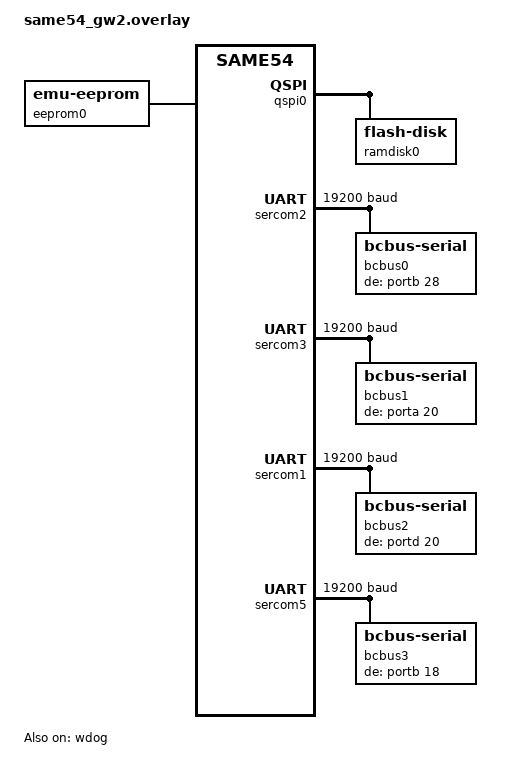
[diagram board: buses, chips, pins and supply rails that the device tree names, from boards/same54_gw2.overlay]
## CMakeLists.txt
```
# SPDX-License-Identifier: Apache-2.0

# set(MY_OBJDUMP $ENV{HOME}/zephyr-sdk-0.17.4/arm-zephyr-eabi/bin/arm-zephyr-eabi-objdump)

# set_property(GLOBAL APPEND PROPERTY extra_post_build_byproducts
#  COMMAND ${MY_OBJDUMP} -S --disassemble ${CMAKE_BINARY_DIR}/app/libapp.a > ${CMAKE_BINARY_DIR}/zephyr/libapp.asm
# )

# west build -p always -b same54_gw2 app/gateway --sysbuild -d build-hello-signed -- -DSB_CONFIG_BOOTLOADER_MCUBOOT=y
# west flash -d build-hello-signed


cmake_minimum_required(VERSION 3.20.0)
find_package(Zephyr REQUIRED HINTS $ENV{ZEPHYR_BASE})
project(app_gateway)


FILE(GLOB app_sources src/*.c src/mecrisp-src/atsame54-ra/mecrisp-stellaris-atsame54p20.s)
option(INCLUDE_HTML_CONTENT "Include the HTML content" ON)
target_sources(app PRIVATE ${app_sources})


include(${ZEPHYR_BASE}/samples/net/common/common.cmake)
target_include_directories(app PRIVATE src/mecrisp-src/atsame54-ra/ src/mecrisp-src/common/)
# zephyr_linker_sources(mecrisp.ld)

target_link_libraries(app PRIVATE zephyr_interface zephyr)

zephyr_linker_sources(SECTIONS sections-rom.ld)

set(gen_dir ${ZEPHYR_BINARY_DIR}/include/generated/)

foreach(web_resource
  bview_bcr.html
  favicon.ico
  fernb_bcr.html
  upload_script.html
  fw_update.html
    )
  generate_inc_file_for_target(
    app
    src/static_web_resources/${web_resource}
    ${gen_dir}/${web_resource}.gz.inc
    --gzip
  )
  generate_inc_file_for_target(
    app
    src/static_web_resources/${web_resource}
    ${gen_dir}/${web_resource}.inc
  )
endforeach()
```

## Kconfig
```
# Copyright (c) 2019 Peter Bigot Consulting, LLC
# SPDX-License-Identifier: Apache-2.0

mainmenu "gateway"


config BCBUS_LINE_SIZE
	int "Size of linebuffer for TTY and FORTH"
	default 120
	help
	  Used for linebuffers.

config APP_HTTP_SERVER_PORT
        int "HTTP Server Port"
        default 80

config TFTP_APP_PORT
	string "TFTP port used"
	default "69"
	help
	  TFTP port used.

config TFTP_APP_SERVER
	string "TFTP server address"
	default "10.100.32.103"
	help
	  TFTP server address. Write as a full URI including optional port number.
	  When DNS resolver is enabled, DNS domain names could be used as well.

choice
	prompt "Storage backend type used by the application"
	default APP_LITTLEFS_STORAGE_FLASH
	help
	  Specify the type of storage backend.

config APP_LITTLEFS_STORAGE_FLASH
	bool "Use flash memory backend"

endchoice


menuconfig QSPI
	bool "Quad Serial Peripheral Interface (QSPI) bus drivers"
	help
	  Enable support for the QSPI hardware bus.

if QSPI

config QSPI_INIT_PRIORITY
	int "Init priority"
	default KERNEL_INIT_PRIORITY_DEVICE
	help
	  Device driver initialization priority.

config QSPI_SAM0
	bool "Atmel SAM0 series QSPI driver"
	default y
	depends on DT_HAS_ATMEL_SAM0_QSPI_ENABLED
	select PINCTRL
	help
	  Enable support for the SAM0 QSPI driver.

module = QSPI
module-str = qspi
source "subsys/logging/Kconfig.template.log_config"

endif # QSPI

source "Kconfig.zephyr"
```

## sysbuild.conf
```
SB_CONFIG_BOOTLOADER_MCUBOOT=y
SB_CONFIG_MCUBOOT_MODE_OVERWRITE_ONLY=y
SB_CONFIG_BOOT_SIGNATURE_KEY_FILE="bc_img_sign.pem"
```

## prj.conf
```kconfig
# Let __ASSERT do its job
CONFIG_DEBUG=y
CONFIG_REBOOT=y
CONFIG_DEBUG_THREAD_INFO=y
CONFIG_WATCHDOG=y
CONFIG_PWM=y

CONFIG_MAIN_STACK_SIZE=3072
CONFIG_SYSTEM_WORKQUEUE_STACK_SIZE=2048
CONFIG_INIT_STACKS=y

CONFIG_SERIAL=y
CONFIG_UART_INTERRUPT_DRIVEN=y

CONFIG_BCBUS=y
CONFIG_BCBUS_SERIAL=y
CONFIG_BCBUS_ROLE_CLIENT_SERVER=y
CONFIG_BCBUS_RAW_ADU=y
CONFIG_BCBUS_NUMOF_RAW_ADU=1
CONFIG_BCBUS_LOG_LEVEL_ERR=y

CONFIG_MODBUS=y
CONFIG_MODBUS_ROLE_SERVER=y
CONFIG_MODBUS_RAW_ADU=y
CONFIG_MODBUS_LOG_LEVEL_DBG=n

# CONFIG_HEAP_MEM_POOL_SIZE=16384
CONFIG_SYS_HEAP_RUNTIME_STATS=y
CONFIG_SYS_HEAP_ARRAY_SIZE=8

CONFIG_FILE_SYSTEM=y
CONFIG_FILE_SYSTEM_SHELL=y
CONFIG_FILE_SYSTEM_MKFS=y
CONFIG_FAT_FILESYSTEM_ELM=y
CONFIG_FS_FATFS_NUM_FILES=10
CONFIG_FS_FATFS_LFN=y
CONFIG_FLASH=y
CONFIG_FLASH_MAP=y
# CONFIG_FLASH_SHELL=y
CONFIG_FLASH_LOG_LEVEL_DBG=n

CONFIG_APP_LITTLEFS_STORAGE_FLASH=y
CONFIG_FILE_SYSTEM_LITTLEFS=y
# CONFIG_FILE_SYSTEM_SHELL_MOUNT_COMMAND=y
CONFIG_SPI_NOR_SFDP_RUNTIME=y
CONFIG_SPI_NOR_FLASH_LAYOUT_PAGE_SIZE=4096

CONFIG_TFTP_LIB=y
CONFIG_POSIX_API=y
CONFIG_FDTABLE=y
CONFIG_ZVFS_OPEN_ADD_SIZE_POSIX=12
CONFIG_ZVFS_OPEN_MAX=52
CONFIG_ZVFS_POLL_MAX=16
CONFIG_ZVFS_EVENTFD_MAX=10


CONFIG_OUTPUT_DISASSEMBLY=y
CONFIG_PRINTK=y
CONFIG_LOG=y
CONFIG_SHELL=y
CONFIG_SHELL_TAB=y

CONFIG_NETWORKING=y
CONFIG_NET_IPV6=n
CONFIG_NET_IPV4=y
CONFIG_NET_ARP=y
CONFIG_NET_UDP=y
CONFIG_NET_TCP=y
CONFIG_NET_SOCKETS=y
CONFIG_NET_CONNECTION_MANAGER=y
CONFIG_NET_MGMT_EVENT=y
CONFIG_NET_L2_ETHERNET_MGMT=y
CONFIG_NET_TCP_TIME_WAIT_DELAY=5000
# CONFIG_NET_CONFIG_SETTINGS=y
# Network buffers
CONFIG_NET_PKT_RX_COUNT=24
CONFIG_NET_PKT_TX_COUNT=24
CONFIG_NET_BUF_RX_COUNT=144
CONFIG_NET_BUF_TX_COUNT=144
CONFIG_NET_CONTEXT_NET_PKT_POOL=y

# IP address options
CONFIG_NET_MAX_CONTEXTS=32
CONFIG_NET_MAX_CONN=32

# Eventfd
CONFIG_EVENTFD=y

# HTTP parser
CONFIG_HTTP_SERVER=y
CONFIG_APP_HTTP_SERVER_PORT=80
CONFIG_HTTP_SERVER_MAX_CLIENTS=3
CONFIG_HTTP_SERVER_MAX_HEADER_LEN=128
CONFIG_HTTP_SERVER_RESOURCE_WILDCARD=y

CONFIG_NET_DHCPV4=y
CONFIG_NET_DHCPV4_OPTION_CALLBACKS=y

# CONFIG_TEST_RANDOM_GENERATOR=y

CONFIG_NET_BUF_LOG=y
CONFIG_NET_LOG=y
CONFIG_NET_HTTP_SERVER_LOG_LEVEL_WRN=y

# CONFIG_NET_CONFIG_MY_IPV6_ADDR="2001:db8::1"
# CONFIG_NET_CONFIG_MY_IPV4_ADDR="192.0.2.1"

CONFIG_NET_SHELL=y
CONFIG_NET_DEBUG_NET_PKT_ALLOC=y
# CONFIG_NET_TCP_LOG_LEVEL_DBG=y
CONFIG_NET_BUF_POOL_USAGE=y
CONFIG_KERNEL_SHELL=y
CONFIG_SHELL_LOG_BACKEND=y
CONFIG_SHELL_BACKEND_TELNET=y
# CONFIG_SHELL_TELNET_SUPPORT_COMMAND=y


CONFIG_EEPROM=y
CONFIG_EEPROM_EMULATOR=y
# CONFIG_EEPROM_SHELL=y
# CONFIG_EEPROM_LOG_LEVEL_DBG=y

CONFIG_ARM_MPU=y
CONFIG_HW_STACK_PROTECTION=y
# Network debug config
CONFIG_NET_SOCKETS_LOG_LEVEL_DBG=n
CONFIG_NET_HTTP_LOG_LEVEL_DBG=n
CONFIG_NET_IPV6_LOG_LEVEL_DBG=n
CONFIG_NET_IPV6_ND_LOG_LEVEL_DBG=n

CONFIG_QSPI=y
CONFIG_QSPI_INIT_PRIORITY=50
# CONFIG_QSPI_LOG_LEVEL_OFF is not set
# CONFIG_QSPI_LOG_LEVEL_ERR is not set
# CONFIG_QSPI_LOG_LEVEL_WRN is not set
# CONFIG_QSPI_LOG_LEVEL_INF is not set
# CONFIG_QSPI_LOG_LEVEL_DBG is not set
CONFIG_QSPI_LOG_LEVEL_DEFAULT=y
CONFIG_DISK_ACCESS=y
CONFIG_DISK_DRIVERS=y
# testing ...
# CONFIG_BOOTLOADER_MCUBOOT=y
# CONFIG_MCUBOOT_BOOTUTIL_LIB=y
# CONFIG_NET_BUF=y
# CONFIG_ZCBOR=y
# CONFIG_MCUMGR=y
CONFIG_STREAM_FLASH=y
# Required by the `taskstat` command.
# CONFIG_THREAD_MONITOR=y
# Support for taskstat command
# CONFIG_MCUMGR_GRP_OS_TASKSTAT=y
# Enable statistics and statistic names.
# CONFIG_STATS=y
# CONFIG_STATS_NAMES=y
CONFIG_IMG_MANAGER=y
# CONFIG_MCUMGR_GRP_IMG=y
# CONFIG_MCUMGR_GRP_OS=y
# CONFIG_MCUMGR_GRP_STAT=y
# Enable logging
# CONFIG_MCUBOOT_UTIL_LOG_LEVEL_WRN=y
# Enable file system commands
# CONFIG_MCUMGR_GRP_FS=y
# Enable shell commands.
# CONFIG_BASE64=y
# CONFIG_CRC=y
# CONFIG_SHELL_BACKEND_DUMMY=y
# CONFIG_MCUMGR_GRP_SHELL=y
# CONFIG_MCUMGR_TRANSPORT_SHELL=y
CONFIG_MCUBOOT_IMG_MANAGER=y
CONFIG_MCUBOOT_SHELL=y
CONFIG_BOOTLOADER_MCUBOOT=y
CONFIG_MCUBOOT_BOOTLOADER_MODE_OVERWRITE_ONLY=y
CONFIG_MCUBOOT_SIGNATURE_KEY_FILE="bc_img_sign.pem"
# CONFIG_IMG_ENABLE_IMAGE_CHECK=y
```

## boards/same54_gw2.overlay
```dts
/*
 * Copyright (c) 2020 Phytec Messtechnik GmbH
 *
 * SPDX-License-Identifier: Apache-2.0
 */

/* 			clocks = <&mclk 0x10 21>, <&mclk 0x10 13>, <&mclk 0x1c 13>;
*/

/ {
	soc {
		qspi0: qspi@42003400 {
			compatible = "bc,sam0-qspiram";
			reg = <0x42003400 0x400>;
			interrupts = <134 0>;
			clocks = <&mclk 0x1c 13>;
			clock-names ="MCLK";
			atmel,assigned-clocks = <&gclk 0x0>;
			atmel,assigned-clock-names = "GCLK";
			status = "disabled";
		};
	};
};

&sercom2 {
	status = "okay";
	compatible = "atmel,sam0-uart";
	current-speed = <19200>;
	rxpo = <1>;
	txpo = <0>;

	pinctrl-0 = <&sercom2_uart_default>;
	pinctrl-names = "default";

	bcbus0 {
		compatible = "zephyr,bcbus-serial";
		status = "okay";
		de-gpios = <&portb 28 GPIO_ACTIVE_HIGH>;
	};
};

&sercom3 {
	status = "okay";
	compatible = "atmel,sam0-uart";
	current-speed = <19200>;
	rxpo = <1>;
	txpo = <0>;

	pinctrl-0 = <&sercom3_uart_default>;
	pinctrl-names = "default";

	bcbus1 {
		compatible = "zephyr,bcbus-serial";
		status = "okay";
		de-gpios = <&porta 20 GPIO_ACTIVE_HIGH>;
	};
};

&sercom1 {
	status = "okay";
	compatible = "atmel,sam0-uart";
	current-speed = <19200>;
	rxpo = <1>;
	txpo = <0>;

	pinctrl-0 = <&sercom1_uart_default>;
	pinctrl-names = "default";

	bcbus2 {
		compatible = "zephyr,bcbus-serial";
		status = "okay";
		de-gpios = <&portd 20 GPIO_ACTIVE_HIGH>;
	};
};

&sercom5 {
	status = "okay";
	compatible = "atmel,sam0-uart";
	current-speed = <19200>;
	rxpo = <1>;
	txpo = <0>;

	pinctrl-0 = <&sercom5_uart_default>;
	pinctrl-names = "default";

	bcbus3 {
		compatible = "zephyr,bcbus-serial";
		status = "okay";
		de-gpios = <&portb 18 GPIO_ACTIVE_HIGH>;
	};
};

&wdog {
	status = "okay";
};

&sram0 {
	reg = <0x20000000 0x3c000>;
};


&qspi0 {
		pinctrl-0 = < &qspi_default >;
		pinctrl-names = "default";
		frequency = < 66000000 >;
		disk-start = < 0x40000000 >;
		status = "okay";

		partitions {
			compatible = "fixed-partitions";
			#address-cells = <1>;
			#size-cells = <1>;

			rampart0: partition@100000 {
			reg = <0x00100000 (DT_SIZE_M(7))>;
		};
	};

		ramdisk0 {
			compatible = "zephyr,flash-disk";
			partition = <&rampart0>;
			disk-name = "RAM";
			sector-size = < 512 >;
			cache-size = <512>;
			status = "okay";
		};
};

/ {
	aliases {
		mac-eeprom = &eeprom0;
	};

	eeprom0: eeprom-0 {
		compatible = "zephyr,emu-eeprom";
		status = "okay";
		partition = < &chip_partition >;
		size = <64>;
		pagesize = <(16*512)>;
	};

};

/ {
   chosen {
      zephyr,code-partition = &slot0_partition;
   };
};
```

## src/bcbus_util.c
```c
#include <zephyr/kernel.h>

#include <zephyr/bcbus/bcbus.h>
#include <zephyr/bcbus/bcbus_unit.h>
#include "bcbus_util.h"

#define LINE1_XADR 0x0100
#define LINE2_XADR 0x0120

/* size of stack area used by each thread */
#define STACKSIZE 1024

/* scheduling priority used by each thread */
#define PRIORITY 13

struct _prv_remotectrl {
	struct remotectrl *rp;
	int akt_ba;
	int akt_iface;
};

struct k_sem update_sem;
struct remotectrl *rp_modul = NULL;

static int get_xdata_via_bus(struct _prv_remotectrl *rp, uint16_t offset)
{
	struct bcbus_tele bustele = {
		.txbuf = {0, 4, SEND_XDATA, offset & 0xff, offset >> 8, 8},
	};
	int rc = -1, m;

	char *p;

	for (m = 0; m < 3; ++m) {
		rc = bcbus_do_client_handshake(rp->akt_iface, rp->akt_ba, &bustele);
		if (rc == 0) {
			break;
		}
	}
	if (rc < 0) {
		strcpy(rp->rp->line1, "...!bus time out!...");
		strcpy(rp->rp->line2, "...!bus time out!...");
		return rc;
	}

	if (offset >= LINE2_XADR) {
		p = rp->rp->line2 + (offset - LINE2_XADR);
	} else {
		p = rp->rp->line1 + (offset - LINE1_XADR);
	}
	for (int i = 0; i < bustele.rxbuf[1]; ++i) {
		*p = bustele.rxbuf[i + 2];
		p++;
	}
	return 0;
}

static int put_scode_via_bus(struct _prv_remotectrl *rp)
{
	struct bcbus_tele bustele = {
		.txbuf =
			{
				0,
				2,
				SET_KEY,
				rp->rp->scancode,
			},
	};
	return bcbus_do_client_handshake(rp->akt_iface, rp->akt_ba, &bustele);
}

int set_bcbus_remote_ba(struct remotectrl *rp, uint8_t ba)
{
	int iface;

	iface = bcbus_find_ba_iface(ba);
	rp->iface = iface;
	rp->ba = ba;

	return iface;
}

int bcbus_remote_fernbedienung(struct remotectrl *remote)
{
	if (remote->ba != 0 && remote->iface >= 0) {
		rp_modul = remote;
		k_sem_give(&update_sem);

	} else {
		rp_modul = NULL;
	}
	return 0;
}

void do_fernbedienung(void *dummy1, void *dummy2, void *dummy3)
{
	ARG_UNUSED(dummy1);
	ARG_UNUSED(dummy2);
	ARG_UNUSED(dummy3);

	struct _prv_remotectrl remote;

	int rc;

	k_sem_init(&update_sem, 0, 2);

	while (1) {
		if (rp_modul != NULL && rp_modul->ba != 0) {
			remote.rp = rp_modul;
			remote.akt_ba = rp_modul->ba;
			remote.akt_iface = rp_modul->iface;
		} else {
			remote.akt_ba = 0;
		}
		if (remote.akt_ba == remote.rp->ba && remote.akt_iface >= 0 && remote.akt_ba != 0) {
			rc = get_xdata_via_bus(&remote, LINE1_XADR + 0);
			rc = get_xdata_via_bus(&remote, LINE1_XADR + 8);
			rc = get_xdata_via_bus(&remote, LINE1_XADR + 16);
			rc = get_xdata_via_bus(&remote, LINE2_XADR + 0);
			rc = get_xdata_via_bus(&remote, LINE2_XADR + 8);
			rc = get_xdata_via_bus(&remote, LINE2_XADR + 16);
			if (remote.rp->scancode != 0) {
				rc = put_scode_via_bus(&remote);
				remote.rp->scancode = 0;
			}
		}
		k_sem_take(&update_sem, K_FOREVER);
	}
}

K_THREAD_DEFINE(thread_fernb, STACKSIZE, do_fernbedienung, NULL, NULL, NULL, PRIORITY, 0, 10);
```

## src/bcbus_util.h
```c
#ifndef bcbus_util__h
#define bcbus_util__h

#ifdef __cplusplus
extern "C" {
#endif

#include <stdio.h>
#include <zephyr/bcbus/bcbus_unit.h>

struct remotectrl {
	uint8_t ba;
	char line1[25];
	char line2[25];
	uint8_t scancode;
	int idle_count;
	int iface;
};

int set_bcbus_remote_ba(struct remotectrl *rp, uint8_t ba);
int bcbus_remote_fernbedienung(struct remotectrl *rp);

#ifdef __cplusplus
}
#endif

#endif
```

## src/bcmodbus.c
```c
/*
 *
 */

#include "psram.h"
#include <zephyr/logging/log.h>
LOG_MODULE_REGISTER(bcmodbus_c, CONFIG_MODBUS_LOG_LEVEL);

#include <zephyr/modbus/modbus.h>
#include <zephyr/kernel.h>
#include <zephyr/net/socket.h>
#include <zephyr/bcbus/bcbus_unit.h>
#include <sys/select.h>
#include "polling.h"

/* size of stack area used by each thread */
#define STACKSIZE 2048

/* scheduling priority used by each thread */
#define PRIORITY 14

#define MODBUS_TCP_PORT 502

#define MB_REGS_PER_UNIT 32

#define MB_TCP_MAX_CONNECTIONS 32

struct _image_prv {
	int server_iface;
	struct modbus_adu tmp_adu;
	bool running;
};

struct _tcp_connection {
	int fd;
	struct k_timer time_out;
};

K_SEM_DEFINE(received, 0, 1);

static struct _image_prv _lm;

static int server_raw_cb(const int iface, const struct modbus_adu *adu, void *user_data)
{
	LOG_DBG("Server raw callback from interface %d", iface);

	_lm.tmp_adu.trans_id = adu->trans_id;
	_lm.tmp_adu.proto_id = adu->proto_id;
	_lm.tmp_adu.length = adu->length;
	_lm.tmp_adu.unit_id = adu->unit_id;
	_lm.tmp_adu.fc = adu->fc;
	memcpy(_lm.tmp_adu.data, adu->data, MIN(adu->length, CONFIG_MODBUS_BUFFER_SIZE));

	LOG_HEXDUMP_DBG(_lm.tmp_adu.data, _lm.tmp_adu.length, "resp");
	k_sem_give(&received);

	return 0;
}

#define MB_INVALID_UNIT -1
#define MB_CACHE_TO_MS  5

struct mb_cache {
	int act_unit;
	uint8_t buf[BCBUS_MAPPING];
};
static struct mb_cache _mb_cache_prv = {.act_unit = -1};

K_TIMER_DEFINE(mb_cache_timer, NULL, NULL);

static uint8_t *set_mb_cache_unit(int unit)
{

	uint8_t *rc = NULL;
	uint8_t *dp;

	if (unit != MB_INVALID_UNIT) {
		if (unit != _mb_cache_prv.act_unit || k_timer_status_get(&mb_cache_timer) > 0) {
			dp = (uint8_t *)PSRAM_POLL_DATA2_ADR((uint8_t)unit);
			psmemcpy(&_mb_cache_prv.buf, dp, BCBUS_MAPPING);
		}
		rc = _mb_cache_prv.buf;
		k_timer_user_data_set(&mb_cache_timer, &_mb_cache_prv);
		k_timer_start(&mb_cache_timer, K_MSEC(MB_CACHE_TO_MS), K_NO_WAIT);
	}

	_mb_cache_prv.act_unit = unit;
	return rc;
}

static int input_reg_rd(uint16_t addr, uint16_t *reg)
{
	uint8_t mb_off;

	if (addr >= 256 * MB_REGS_PER_UNIT) {
		return -ENOTSUP;
	}

	mb_off = 2 * (addr % MB_REGS_PER_UNIT);
	*reg = sys_get_le16(set_mb_cache_unit(addr / MB_REGS_PER_UNIT) + mb_off);
	LOG_DBG("Input register read, addr %u", addr);
	return 0;
}

static int holding_reg_rd(uint16_t addr, uint16_t *reg)
{
	uint8_t mb_off;

	if (addr >= 256 * MB_REGS_PER_UNIT) {
		return -ENOTSUP;
	}

	mb_off = 2 * (addr % MB_REGS_PER_UNIT);
	*reg = sys_get_le16(set_mb_cache_unit(addr / MB_REGS_PER_UNIT) + mb_off);
	LOG_DBG("Holding register read, addr %u", addr);
	return 0;
}

static int holding_reg_wr(uint16_t addr, uint16_t reg)
{
	uint8_t mb_off;
	uint8_t *dp;
	uint8_t buf[2];

	if (addr >= 256 * MB_REGS_PER_UNIT) {
		return -ENOTSUP;
	}

	mb_off = 2 * (addr % MB_REGS_PER_UNIT);

	dp = (uint8_t *)PSRAM_POLL_DATA2_ADR(addr / MB_REGS_PER_UNIT) + mb_off;
	sys_put_le16(reg, buf);
	psmemcpy(dp, &buf, sizeof(buf));
	/* invalidate cache */
	set_mb_cache_unit(MB_INVALID_UNIT);
	LOG_DBG("Holding register write, addr %u", addr);

	return 0;
}

static struct modbus_user_callbacks mbs_cbs = {
	.holding_reg_rd = holding_reg_rd,
	.holding_reg_wr = holding_reg_wr,
	.input_reg_rd = input_reg_rd,
};

const static struct modbus_iface_param server_param = {
	.mode = MODBUS_MODE_RAW,
	.server =
		{
			.user_cb = &mbs_cbs,
			.unit_id = 1,
		},

	.rawcb.raw_tx_cb = server_raw_cb,
	.rawcb.user_data = NULL,
};

static int init_modbus_server(void)
{
	char iface_name[] = "RAW_0";
	int err;

	_lm.server_iface = modbus_iface_get_by_name(iface_name);

	if (_lm.server_iface < 0) {
		LOG_ERR("Failed to get iface index for %s", iface_name);
		return -ENODEV;
	}

	err = modbus_init_server(_lm.server_iface, server_param);

	if (err < 0) {
		return err;
	}

	return 0;
}

static int modbus_tcp_reply(int client, struct modbus_adu *adu)
{
	uint8_t header[MODBUS_MBAP_AND_FC_LENGTH];

	modbus_raw_put_header(adu, header);
	if (send(client, header, sizeof(header), 0) < 0) {
		return -errno;
	}

	if (send(client, adu->data, adu->length, 0) < 0) {
		return -errno;
	}

	return 0;
}

static int modbus_tcp_connection(int client)
{
	uint8_t header[MODBUS_MBAP_AND_FC_LENGTH];
	int rc;
	int data_len;

	rc = recv(client, header, sizeof(header), MSG_WAITALL);
	if (rc <= 0) {
		return rc == 0 ? -ENOTCONN : -errno;
	}

	LOG_HEXDUMP_DBG(header, sizeof(header), "h:>");
	modbus_raw_get_header(&_lm.tmp_adu, header);
	data_len = _lm.tmp_adu.length;

	rc = recv(client, _lm.tmp_adu.data, data_len, MSG_WAITALL);
	if (rc <= 0) {
		return rc == 0 ? -ENOTCONN : -errno;
	}

	LOG_HEXDUMP_DBG(_lm.tmp_adu.data, _lm.tmp_adu.length, "d:>");
	if (modbus_raw_submit_rx(_lm.server_iface, &_lm.tmp_adu)) {
		LOG_ERR("Failed to submit raw ADU");
		return -EIO;
	}

	if (k_sem_take(&received, K_MSEC(1000)) != 0) {
		LOG_ERR("MODBUS RAW wait time expired");
		modbus_raw_set_server_failure(&_lm.tmp_adu);
	}

	return modbus_tcp_reply(client, &_lm.tmp_adu);
}

#define MB_TCP_TIMEOUT_MS 5000

void thread_modbus_tcp_entry(void *dummy1, void *dummy2, void *dummy3)
{
	ARG_UNUSED(dummy1);
	ARG_UNUSED(dummy2);
	ARG_UNUSED(dummy3);
	int serv;
	struct sockaddr_in bind_addr;
	static int counter, i, sock_max, ready, max = -1;
	static struct _tcp_connection client_sock[MB_TCP_MAX_CONNECTIONS];
	static fd_set gesamt_sock, lese_sock;

	while (!_lm.running) {
		k_sleep(K_MSEC(1000));
	}

	sock_max = serv = socket(AF_INET, SOCK_STREAM, IPPROTO_TCP);

	if (serv < 0) {
		LOG_ERR("error: socket: %d", errno);
		return;
	}

	bind_addr.sin_family = AF_INET;
	bind_addr.sin_addr.s_addr = htonl(INADDR_ANY);
	bind_addr.sin_port = htons(MODBUS_TCP_PORT);

	if (bind(serv, (struct sockaddr *)&bind_addr, sizeof(bind_addr)) < 0) {
		LOG_ERR("error: bind: %d", errno);
		return;
	}

	if (listen(serv, 5) < 0) {
		LOG_ERR("error: listen: %d", errno);
		return;
	}

	LOG_INF("Started MODBUS TCP server on port %d", MODBUS_TCP_PORT);

	for (i = 0; i < MB_TCP_MAX_CONNECTIONS; i++) {
		client_sock[i].fd = -1;
		k_timer_init(&client_sock[i].time_out, NULL, NULL);
	}

	FD_ZERO(&gesamt_sock);
	FD_SET(serv, &gesamt_sock);

	while (1) {
		lese_sock = gesamt_sock;

		struct sockaddr_in client_addr;
		socklen_t client_addr_len = sizeof(client_addr);
		char addr_str[INET_ADDRSTRLEN];
		int client, sock3;
		int rc;

		ready = select(sock_max + 1, &lese_sock, NULL, NULL, NULL);

		if (FD_ISSET(serv, &lese_sock)) {
			client = accept(serv, (struct sockaddr *)&client_addr, &client_addr_len);

			if (client < 0) {
				LOG_ERR("error: accept: %d", errno);
				continue;
			}

			inet_ntop(client_addr.sin_family, &client_addr.sin_addr, addr_str,
				  sizeof(addr_str));
			LOG_DBG("Connection #%d from %s", counter++, addr_str);
			for (i = 0; i < FD_SETSIZE; i++) {
				if (client_sock[i].fd < 0) {
					client_sock[i].fd = client;
					k_timer_start(&client_sock[i].time_out,
						      K_MSEC(MB_TCP_TIMEOUT_MS), K_FOREVER);
					break;
				}
			}
			if (i == FD_SETSIZE) {
				LOG_ERR("To much Connections #%d from %s", counter, addr_str);
			} else {
				FD_SET(client, &gesamt_sock);
				if (client > sock_max) {
					sock_max = client;
				}
				if (i > max) {
					max = i;
				}
			}
			if (--ready <= 0) {
				continue;
			}
		} // if(FD_ISSET ...

		/* Ab hier werden alle Verbindungen von Clients auf
		 * die Ankunft von neuen Daten überprüft */
		for (i = 0; i <= max; i++) {
			if ((sock3 = client_sock[i].fd) < 0) {
				continue;
			}
			rc = 0;
			/* (Socket-)Deskriptor gesetzt ... */
			if (FD_ISSET(sock3, &lese_sock)) {
				/* ... dann die Daten lesen */
				rc = modbus_tcp_connection(sock3);
				/* Wenn quit erhalten wurde ... */
				if (rc == 0) {
					k_timer_start(&client_sock[i].time_out,
						      K_MSEC(MB_TCP_TIMEOUT_MS), K_FOREVER);
				}
				--ready;
			}
			if (rc != 0 || k_timer_status_get(&client_sock[i].time_out) > 0) {
				/* ... hat sich der Client beendet oder timeout */
				// Socket schließen
				close(sock3);
				// aus Menge löschen
				FD_CLR(sock3, &gesamt_sock);
				client_sock[i].fd = -1; // auf -1 setzen
				k_timer_stop(&client_sock[i].time_out);
				LOG_DBG("Connection from %s closed, errno %d", addr_str, rc);
			}
		}
	}
}

K_THREAD_DEFINE(thread_modbus, STACKSIZE, thread_modbus_tcp_entry, NULL, NULL, NULL, PRIORITY, 0,
		15);

int bcbus_mb_services_start(void)
{
	if (init_modbus_server()) {
		LOG_ERR("Modbus TCP server initialization failed");
		return 0;
	}

	_lm.running = true;

	return 0;
}
```

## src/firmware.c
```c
#include <zephyr/logging/log.h>
LOG_MODULE_REGISTER(firmware_c, LOG_LEVEL_DBG);

#include <zephyr/kernel.h>
#include <zephyr/device.h>
#include <zephyr/sys/util.h>
#include <zephyr/dfu/flash_img.h>
#include <zephyr/dfu/mcuboot.h>
#include <zephyr/sys/reboot.h>

static struct update_ctx {
	struct flash_img_context upd_ctx;
	off_t pos;
} ctx;

void firmware_update_start(void)
{
	int err;

	err = boot_erase_img_bank(flash_img_get_upload_slot());

	if (err == 0) {
		err = flash_img_init(&ctx.upd_ctx);
	}
	if (err != 0) {
		LOG_ERR("cannot init image for update %d", err);
	}
}

size_t write_firmware_blk(void *data, size_t slen)
{
	return flash_img_buffered_write(&ctx.upd_ctx, data, slen, false) == 0 ? slen : 0;
}

void firmware_update_abort(void)
{
}

void firmware_update_confirm(void)
{
	char dummy = 0;

	flash_img_buffered_write(&ctx.upd_ctx, &dummy, 0, true);
	boot_request_upgrade(BOOT_UPGRADE_PERMANENT);
	LOG_INF("mark image in slot 1 as permanent");
	k_sleep(K_MSEC(1500));
	sys_reboot(SYS_REBOOT_COLD);
}
```

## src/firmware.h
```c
#ifndef firmware__h
#define firmware__h
#include <stdio.h>

#include <zephyr/storage/flash_map.h>

#ifdef __cplusplus
extern "C" {
#endif

#define MAX_SIZE_FIRMWARE FIXED_PARTITION_SIZE(slot1_partition)

void firmware_update_start(void);
size_t write_firmware_blk(void *data, size_t slen);
void firmware_update_abort(void);
void firmware_update_confirm(void);

#ifdef __cplusplus
}
#endif

#endif
```

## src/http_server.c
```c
#include "zephyr/net/http/method.h"
#include <stdlib.h>

#include <zephyr/logging/log.h>
LOG_MODULE_REGISTER(http_server_c, LOG_LEVEL_DBG);

#include <zephyr/kernel.h>
#include <zephyr/net/tls_credentials.h>
#include <zephyr/net/http/server.h>
#include <zephyr/net/http/service.h>
#include <zephyr/net/net_ip.h>
#include <zephyr/net/socket.h>
#include <zephyr/device.h>
#include <zephyr/sys/util.h>
#include <zephyr/sys/reboot.h>
#include "http_server.h"
#include "polling.h"
#include "cJSON.h"
#include "urldecode.h"
#include "bcbus_util.h"
#include "firmware.h"

static uint8_t bview_bcr_html[] = {
#include "bview_bcr.html.gz.inc"
};

static uint8_t favicon_ico_gz[] = {
#include "favicon.ico.gz.inc"
};

static uint8_t fernb_bcr_html[] = {
#include "fernb_bcr.html.gz.inc"
};

static uint8_t fw_update_html[] = {
#include "fw_update.html.gz.inc"
};


struct http_pvis_ctx {
	int wdog_timer;
	struct k_timer wd_timer;
};

/* public port */
static struct http_pvis_ctx http_loc_ctx = {
	.wdog_timer = 30
};

struct http_resource_detail_static favicon_ico_gz_resource_detail = {
	.common =
		{
			.type = HTTP_RESOURCE_TYPE_STATIC,
			.bitmask_of_supported_http_methods = BIT(HTTP_GET),
			.content_encoding = "gzip",
		},
	.static_data = favicon_ico_gz,
	.static_data_len = sizeof(favicon_ico_gz),
};

static void parse_led_post(uint8_t *buf, size_t len)
{
}

static int led_handler(struct http_client_ctx *client, enum http_data_status status,
		       const struct http_request_ctx *request_ctx,
		       struct http_response_ctx *response_ctx, void *user_data)
{
	static uint8_t post_payload_buf[32];
	static size_t cursor;

	LOG_DBG("LED handler status %d, size %zu", status, request_ctx->data_len);

	if (status == HTTP_SERVER_DATA_ABORTED) {
		cursor = 0;
		return 0;
	}

	if (request_ctx->data_len + cursor > sizeof(post_payload_buf)) {
		cursor = 0;
		return -ENOMEM;
	}

	/* Copy payload to our buffer. Note that even for a small payload, it may arrive split into
	 * chunks (e.g. if the header size was such that the whole HTTP request exceeds the size of
	 * the client buffer).
	 */
	memcpy(post_payload_buf + cursor, request_ctx->data, request_ctx->data_len);
	cursor += request_ctx->data_len;

	if (status == HTTP_SERVER_DATA_FINAL) {
		parse_led_post(post_payload_buf, cursor);
		cursor = 0;
	}

	return 0;
}

static struct http_resource_detail_dynamic led_resource_detail = {
	.common =
		{
			.type = HTTP_RESOURCE_TYPE_DYNAMIC,
			.bitmask_of_supported_http_methods = BIT(HTTP_POST),
		},
	.cb = led_handler,
	.user_data = NULL,
};

static int uptime_handler(struct http_client_ctx *client, enum http_data_status status,
			  const struct http_request_ctx *request_ctx,
			  struct http_response_ctx *response_ctx, void *user_data)
{
	int ret;
	static uint8_t uptime_buf[sizeof(STRINGIFY(INT64_MAX))];

	LOG_DBG("Uptime handler status %d", status);

	/* A payload is not expected with the GET request. Ignore any data and wait until
	 * final callback before sending response
	 */
	if (status == HTTP_SERVER_DATA_FINAL) {
		ret = snprintf(uptime_buf, sizeof(uptime_buf), "%" PRId64, k_uptime_get());
		if (ret < 0) {
			LOG_ERR("Failed to snprintf uptime, err %d", ret);
			return ret;
		}

		response_ctx->body = uptime_buf;
		response_ctx->body_len = ret;
		response_ctx->final_chunk = true;
	}

	return 0;
}

static int upl_firmware_handler(struct http_client_ctx *client, enum http_data_status status,
				const struct http_request_ctx *request_ctx,
				struct http_response_ctx *response_ctx, void *user_data)
{
	static size_t cursor;

	if (status == HTTP_SERVER_DATA_ABORTED) {
		LOG_DBG("Upload Firmware Abort %d, size %zu", status, request_ctx->data_len);

		firmware_update_abort();
		cursor = 0;
		return 0;
	}

	if (cursor == 0) {
		LOG_DBG("Upload Firmware Start %d, size %zu", status, request_ctx->data_len);
		firmware_update_start();
	}

	if (cursor + request_ctx->data_len <= MAX_SIZE_FIRMWARE) {
		cursor += write_firmware_blk(request_ctx->data, request_ctx->data_len);
	} else {
		LOG_DBG("Upload Firmware Size %d, size %zu", status,
			request_ctx->data_len + cursor);
		firmware_update_abort();
		cursor = 0;
		return -ENOMEM;
	}

	if (status == HTTP_SERVER_DATA_FINAL) {
		LOG_DBG("Upload Firmware Success %d, size %zu", status, cursor);
		firmware_update_confirm();
		cursor = 0;
	}

	return 0;
}

static struct http_resource_detail_dynamic fw_updload_resource_detail = {
	.common =
		{
			.type = HTTP_RESOURCE_TYPE_DYNAMIC,
			.bitmask_of_supported_http_methods = BIT(HTTP_POST),
			.content_type = "application/octet-stream",
		},
	.cb = upl_firmware_handler,
	.user_data = NULL,
};

static struct http_resource_detail_dynamic uptime_resource_detail = {
	.common =
		{
			.type = HTTP_RESOURCE_TYPE_DYNAMIC,
			.bitmask_of_supported_http_methods = BIT(HTTP_GET),
		},
	.cb = uptime_handler,
	.user_data = NULL,
};

#define UP_BUF_SIZE 1280
static int upstream_get_handler(struct http_client_ctx *client, enum http_data_status status,
				const struct http_request_ctx *request_ctx,
				struct http_response_ctx *response_ctx, void *user_data)
{
	size_t len;
	static size_t cursor = 0;
	static uint8_t buf[UP_BUF_SIZE];

	/* A payload is not expected with the GET request. Ignore any data and wait until
	 * final callback before sending response
	 */
	if (status == HTTP_SERVER_DATA_FINAL) {
		k_timer_start(&http_loc_ctx.wd_timer, K_SECONDS(http_loc_ctx.wdog_timer), K_FOREVER);
		len = read_upstream_chunk(cursor, buf, UP_BUF_SIZE);
		cursor += len;
		response_ctx->body = buf;
		response_ctx->body_len = len;
		response_ctx->final_chunk = cursor >= PVIS_SIZE;
		if (response_ctx->final_chunk) {
			cursor = 0;
		}
	}

	return 0;
}

static struct http_resource_detail_dynamic upstream_resource_detail = {
	.common =
		{
			.type = HTTP_RESOURCE_TYPE_DYNAMIC,
			.bitmask_of_supported_http_methods = BIT(HTTP_GET),
			.content_type = "application/octet-stream",
		},
	.cb = upstream_get_handler,
	.user_data = NULL,
};

static int downstream_post_handler(struct http_client_ctx *client, enum http_data_status status,
				   const struct http_request_ctx *request_ctx,
				   struct http_response_ctx *response_ctx, void *user_data)
{
	static size_t cursor;
	static bool valid;

	if (status == HTTP_SERVER_DATA_ABORTED) {
		cursor = 0;
		return 0;
	}

	if (cursor == 0) {
		valid = request_ctx->data[0] == '*';
	}

	if (cursor + request_ctx->data_len > PVIS_SIZE) {
		LOG_ERR("File too large : %d bytes", cursor + request_ctx->data_len);
		return -ENOMEM;
	}

	/* Copy payload to our buffer. Note that even for a small payload, it may arrive split into
	 * chunks (e.g. if the header size was such that the whole HTTP request exceeds the size of
	 * the client buffer).
	 */
	if (valid) {
		cursor += write_setpoint_chunk(cursor, request_ctx->data, request_ctx->data_len);
	} else {
		cursor += request_ctx->data_len;
	}

	if (status == HTTP_SERVER_DATA_FINAL) {
		cursor = 0;
	}
	return 0;
}

static struct http_resource_detail_dynamic downstream_resource_detail = {
	.common =
		{
			.type = HTTP_RESOURCE_TYPE_DYNAMIC,
			.bitmask_of_supported_http_methods = BIT(HTTP_POST),
			.content_type = "application/octet-stream",
		},
	.cb = downstream_post_handler,
	.user_data = NULL,
};

static int send_json_response(struct http_response_ctx *response_ctx, cJSON *jdata,
			      char **static_str)
{
	int result = 0;
	/* Send JSON file to complete it */
	if (*static_str != NULL) {
		free(*static_str);
	}
	*static_str = cJSON_Print(jdata); /* allocates memory for result */
	if (static_str) {
		response_ctx->body = *static_str;
		response_ctx->body_len = strlen(*static_str);
		response_ctx->final_chunk = true;
	} else {
		result = -1;
	}

	return result;
}

struct static_bview {
	uint8_t ba;
	int idle_count;
};

static struct static_bview stat_bview_data;
static struct remotectrl fernb_remote = {0};

static void proc_JSON_bview_data(struct static_bview *rp, cJSON *obj)
{
	const cJSON *client = NULL;
	const cJSON *scode = NULL;
	client = cJSON_GetObjectItemCaseSensitive(obj, "clientData");
	if (client == NULL) {
		const char *error_ptr = cJSON_GetErrorPtr();
		if (error_ptr != NULL) {
			LOG_ERR("Error before: %s\n", error_ptr);
		}
		goto end;
	}
	scode = cJSON_GetObjectItemCaseSensitive(client, "ba");
	if (cJSON_IsNumber(scode)) {
		fernb_remote.ba = scode->valueint;
	}

end:;
}

static int bview_json_handler(struct http_client_ctx *client, enum http_data_status status,
			      const struct http_request_ctx *request_ctx,
			      struct http_response_ctx *response_ctx, void *user_data)
{
	struct static_bview *bview_data = (struct static_bview *)user_data;

	cJSON *jdata, *bview, *json_in, *aitem;
	struct busunit *punit;
	struct poll_data *pitem;
	char str[40];
	char *pos;
	static char *tstr = NULL;
	int rc;

	jdata = cJSON_CreateObject();
	if (jdata == 0) {
		return -1;
	}
	/* next Block */
	bview_data->ba = (bview_data->ba + 16) & 0xF0;

	cJSON_AddItemToObject(jdata, "module", cJSON_CreateString("busoverview"));
	cJSON_AddNumberToObject(jdata, "startba", bview_data->ba);
	cJSON_AddItemToObject(jdata, "segment", bview = cJSON_CreateArray());
	for (int ba = 0; ba < 16; ba++) {
		punit = get_polled_busunit(bview_data->ba + ba);
		pitem = (punit == NULL ? NULL : claim_poll_data_buf(punit->data));
		aitem = cJSON_CreateObject();
		snprintf(str, sizeof(str), "%02x %02x %02x %02x %02x %02x",
			 pitem == NULL ? 0 : pitem->data[2][2],
			 pitem == NULL ? 0 : pitem->data[2][3],
			 pitem == NULL ? 0 : pitem->data[2][4],
			 pitem == NULL ? 0 : pitem->data[2][5],
			 pitem == NULL ? 0 : pitem->data[2][6],
			 pitem == NULL ? 0 : pitem->data[2][7]);
		cJSON_AddStringToObject(aitem, "snr", str);
		cJSON_AddNumberToObject(aitem, "errcount", pitem == NULL ? 0 : pitem->data[2][1]);
		cJSON_AddItemToArray(bview, aitem);
		if (pitem != NULL) {
			release_poll_data_buf(punit->data, pitem);
		}
	}

	pos = strstr(request_ctx->data, "?data=");
	if (pos) {
		pos += sizeof("?data=") - 1;
		if (tstr != NULL) {
			free(tstr);
		}
		tstr = urlDecode(pos); /* allocates memory for tstr ! */
		if (tstr) {
			json_in = cJSON_Parse(tstr);
			proc_JSON_bview_data(bview_data, json_in);
			cJSON_Delete(json_in);
			free(tstr);
			tstr = NULL;
		}
	}

	rc = send_json_response(response_ctx, jdata, &tstr);

	cJSON_Delete(jdata);

	return rc;
}

static struct http_resource_detail_static fw_update_resource_detail = {
	.common =
		{
			.type = HTTP_RESOURCE_TYPE_STATIC,
			.bitmask_of_supported_http_methods = BIT(HTTP_GET),
			.content_encoding = "gzip",
		},
	.static_data = fw_update_html,
	.static_data_len = sizeof(fw_update_html),
};

static struct http_resource_detail_static bview_resource_detail = {
	.common =
		{
			.type = HTTP_RESOURCE_TYPE_STATIC,
			.bitmask_of_supported_http_methods = BIT(HTTP_GET),
			.content_encoding = "gzip",
		},
	.static_data = bview_bcr_html,
	.static_data_len = sizeof(bview_bcr_html),
};

static struct http_resource_detail_dynamic bview_json_resource_detail = {
	.common =
		{
			.type = HTTP_RESOURCE_TYPE_DYNAMIC,
			.bitmask_of_supported_http_methods = BIT(HTTP_GET),
			.content_type = "application/json",
		},
	.cb = bview_json_handler,
	.user_data = &stat_bview_data,
};

static void proc_JSON_fernb_data(struct remotectrl *rp, cJSON *obj)
{
	const cJSON *client = NULL;
	const cJSON *scode = NULL;
	client = cJSON_GetObjectItemCaseSensitive(obj, "clientData");
	if (client == NULL) {
		const char *error_ptr = cJSON_GetErrorPtr();
		if (error_ptr != NULL) {
			LOG_ERR("Error before: %s\n", error_ptr);
		}
		goto end;
	}
	scode = cJSON_GetObjectItemCaseSensitive(client, "scancode");
	if (!cJSON_IsNumber(scode)) {
		goto end;
	}
	if (scode->valueint != 0) {
		rp->scancode = scode->valueint;
	}
	scode = cJSON_GetObjectItemCaseSensitive(client, "ba");
	if (!cJSON_IsNumber(scode)) {
		goto end;
	}

	set_bcbus_remote_ba(rp, scode->valueint);
end:;
}

static int fernb_json_handler(struct http_client_ctx *client, enum http_data_status status,
			      const struct http_request_ctx *request_ctx,
			      struct http_response_ctx *response_ctx, void *user_data)
{
	struct remotectrl *remote = (struct remotectrl *)user_data;
	char *pos;
	static char *tstr = NULL;
	int rc;

	cJSON *jdata, *fernb, *json_in;
	jdata = cJSON_CreateObject();
	cJSON_AddItemToObject(jdata, "module", cJSON_CreateString("remotecontrol"));
	cJSON_AddNumberToObject(jdata, "free_heap", (double)0);
	cJSON_AddItemToObject(jdata, "client", fernb = cJSON_CreateObject());
	cJSON_AddStringToObject(fernb, "line1", remote->line1);
	cJSON_AddStringToObject(fernb, "line2", remote->line2);
	cJSON_AddNumberToObject(fernb, "idle_count", remote->idle_count);
	cJSON_AddNumberToObject(fernb, "busaddress", remote->ba);

	pos = strstr(request_ctx->data, "?data=");
	if (pos) {
		pos += sizeof("?data=") - 1;
		if (tstr != NULL) {
			free(tstr);
		}
		tstr = urlDecode(pos); /* allocates memory for tstr ! */
		if (tstr) {
			//			json_in = cJSON_Parse(trim_inner_string(tstr));
			json_in = cJSON_Parse(tstr);
			proc_JSON_fernb_data(remote, json_in);
			cJSON_Delete(json_in);
			free(tstr);
			tstr = NULL;
		}
	}

	bcbus_remote_fernbedienung(remote);

	rc = send_json_response(response_ctx, jdata, &tstr);

	cJSON_Delete(jdata);

	return rc;
}

static struct http_resource_detail_static fernb_resource_detail = {
	.common =
		{
			.type = HTTP_RESOURCE_TYPE_STATIC,
			.bitmask_of_supported_http_methods = BIT(HTTP_GET),
			.content_encoding = "gzip",
		},
	.static_data = fernb_bcr_html,
	.static_data_len = sizeof(fernb_bcr_html),
};

static struct http_resource_detail_dynamic fernb_json_resource_detail = {
	.common =
		{
			.type = HTTP_RESOURCE_TYPE_DYNAMIC,
			.bitmask_of_supported_http_methods = BIT(HTTP_GET),
			.content_type = "application/json",
		},
	.cb = fernb_json_handler,
	.user_data = &fernb_remote,
};

static uint16_t bcbus_http_service_port = CONFIG_APP_HTTP_SERVER_PORT;
HTTP_SERVER_CONTENT_TYPE(ico, "image/x-icon")

HTTP_RESOURCE_DEFINE(favicon_resource, bcbus_http_service, "/favicon.ico",
		     &favicon_ico_gz_resource_detail);

HTTP_SERVICE_DEFINE(bcbus_http_service, NULL, &bcbus_http_service_port,
		    CONFIG_HTTP_SERVER_MAX_CLIENTS, 10, NULL, NULL, NULL);

HTTP_RESOURCE_DEFINE(bview_json_resource, bcbus_http_service, "/bview.json",
		     &bview_json_resource_detail);
HTTP_RESOURCE_DEFINE(fernb_json_resource, bcbus_http_service, "/fernb.json",
		     &fernb_json_resource_detail);
HTTP_RESOURCE_DEFINE(bview_resource, bcbus_http_service, "/bview", &bview_resource_detail);
HTTP_RESOURCE_DEFINE(fernb_resource, bcbus_http_service, "/fernb", &fernb_resource_detail);
HTTP_RESOURCE_DEFINE(uptime_resource, bcbus_http_service, "/uptime", &uptime_resource_detail);
HTTP_RESOURCE_DEFINE(update_resource, bcbus_http_service, "/update", &fw_update_resource_detail);

HTTP_RESOURCE_DEFINE(uplfw_resource, bcbus_http_service, "/uploadfw", &fw_updload_resource_detail);
HTTP_RESOURCE_DEFINE(led_resource, bcbus_http_service, "/led", &led_resource_detail);

HTTP_RESOURCE_DEFINE(ubstream_resource, bcbus_http_service, "/api/v1/bc-2000/upstream.bin",
		     &upstream_resource_detail);

HTTP_RESOURCE_DEFINE(downstream_resource, bcbus_http_service, "/api/v1/bc-2000/downstream.bin",
		     &downstream_resource_detail);

void set_pvis_time(int seconds)
{
	k_timer_stop(&http_loc_ctx.wd_timer);
	http_loc_ctx.wdog_timer = seconds;
};

static void wdog_expiry(struct k_timer *timer_id)
{
	sys_reboot(SYS_REBOOT_WARM);
}

int start_http_server(void)
{
	http_server_start();
	k_timer_init(&http_loc_ctx.wd_timer, wdog_expiry, NULL);
	return 0;
}
```

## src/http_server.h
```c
#ifndef http_server__h
#define http_server__h

#ifdef __cplusplus
extern "C" {
#endif

#include <stdint.h>

#define PVIS_SIZE (256 * 64)

void set_pvis_time(int seconds);

int start_http_server(void);

#ifdef __cplusplus
}
#endif

#endif
```

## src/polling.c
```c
/*
 * Copyright (c) 2025 Brauns Control GmbH.
 *
 * SPDX-License-Identifier: Apache-2.0
 */
#include "psram.h"
#include "zephyr/devicetree.h"
#include <zephyr/logging/log.h>
#include <stdint.h>
#include <stdlib.h>
LOG_MODULE_REGISTER(polling_c, LOG_LEVEL_DBG);

#include <zephyr/kernel.h>
#include <zephyr/bcbus/bcbus.h>
#include <zephyr/bcbus/bcbus_unit.h>
#include "polling.h"

#define POLL_BUFFER_COUNT 12

K_MEM_SLAB_DEFINE_STATIC(poll_slab, sizeof(struct poll_data), POLL_BUFFER_COUNT, 4);
struct poll_buf_ctx {
	const struct poll_data *addr;
	struct k_mutex ctx_mutex;
};
static struct poll_buf_ctx poll_buf_stat[POLL_BUFFER_COUNT];
K_MUTEX_DEFINE(poll_buf_mutex);

static void poll_buf_lock_wait(const struct poll_data *src)
{
	int n;

	k_mutex_lock(&poll_buf_mutex, K_FOREVER);
	for (n = 0; n < POLL_BUFFER_COUNT; n++) {
		if (poll_buf_stat[n].addr == src) {
			k_mutex_unlock(&poll_buf_mutex);
			k_mutex_lock(&poll_buf_stat[n].ctx_mutex, K_FOREVER);
			return;
		}
	}
	for (n = 0; n < POLL_BUFFER_COUNT; n++) {
		if (poll_buf_stat[n].addr == NULL) {
			poll_buf_stat[n].addr = src;
			k_mutex_unlock(&poll_buf_mutex);
			k_mutex_lock(&poll_buf_stat[n].ctx_mutex, K_FOREVER);
			return;
		}
	}
}

static void poll_buf_unlock(const struct poll_data *src)
{
	int n;

	k_mutex_lock(&poll_buf_mutex, K_FOREVER);
	for (n = 0; n < POLL_BUFFER_COUNT; n++) {
		if (poll_buf_stat[n].addr == src) {
			poll_buf_stat[n].addr = NULL;
			k_mutex_unlock(&poll_buf_stat[n].ctx_mutex);
			break;
		}
	}
	k_mutex_unlock(&poll_buf_mutex);
}

static void poll_buf_init(void)
{
	int n;

	for (n = 0; n < POLL_BUFFER_COUNT; n++) {
		poll_buf_stat[n].addr = NULL;
		k_mutex_init(&poll_buf_stat[n].ctx_mutex);
	}
}

struct poll_data *claim_poll_data_buf(const struct poll_data *src)
{
	struct poll_data *p = NULL;
	poll_buf_lock_wait(src);
	if (k_mem_slab_alloc(&poll_slab, (void *)&p, K_MSEC(100)) == 0) {
		p = psmemcpy(p, src, sizeof(struct poll_data));
	} else {
		LOG_ERR("no free POLL_BUFFERS");
	}
	return p;
}

void release_poll_data_buf(struct poll_data *dest, const struct poll_data *src)
{
	psmemcpy(dest, src, sizeof(struct poll_data));
	k_mem_slab_free(&poll_slab, (void *)src);
	poll_buf_unlock(dest);
}

static struct poll_data *fetch_poll_data(uint8_t adr)
{
	struct poll_data *p = (void *)PSRAM_POLL_DATA_ADR(adr);
	return claim_poll_data_buf(p);
}

static inline void release_poll_data(uint8_t adr, struct poll_data *p)
{
	struct poll_data *dest = (void *)PSRAM_POLL_DATA_ADR(adr);
	release_poll_data_buf(dest, p);
}

struct polling_th {
	/* UART device */
	const struct device *dev;
	enum poll_state state;
	int iface;
	struct bcbus_obj *bus;
};

char const *const status_str[] = {"idle", "starting", "running", "stopping", "not found"};

#define DT_DRV_COMPAT zephyr_bcbus_serial

#define BCBUS_DT_GET_SERIAL_DEV(inst)                                                              \
	{                                                                                          \
		.dev = DEVICE_DT_GET(DT_INST_PARENT(inst)),                                        \
	},

static struct polling_th polling_ths[] = {
	DT_INST_FOREACH_STATUS_OKAY(BCBUS_DT_GET_SERIAL_DEV){.dev = NULL},
};

#define BUS_COUNT (sizeof(polling_ths) / sizeof(struct polling_th))

static struct busunit *unit_tab[256];

struct busunit *get_polled_busunit(uint8_t ba)
{
	return unit_tab[ba];
}

static bool is_not_empty(uint8_t buf[BCBUS_MAPPING])
{
	int n;
	for (n = 0; n < BCBUS_MAPPING; n++) {
		if (buf[n] != 0) {
			return true;
		}
	}
	return false;
}

static void put_setpoint_block(uint8_t adr, uint8_t *data)
{
	struct poll_data *dp;
	struct busunit *p = unit_tab[adr];
	if (p != NULL && p->data != NULL) {
		dp = p->data;
		psmemcpy(&dp->data[0], data, BCBUS_MAPPING);
	}
}

size_t write_setpoint_chunk(uint16_t offset, uint8_t *data, size_t len)
{
	static uint8_t split_buf[BCBUS_MAPPING];
	static uint16_t split;
	uint16_t adr_block;
	size_t to_write = len;
	size_t written = 0;
	int n;
	if (offset == 0) {
		split = 0;
	}
	adr_block = offset - split;
	while (to_write) {
		n = MIN(BCBUS_MAPPING - split, to_write);
		memcpy(&split_buf[split], &data[written], n);
		written += n;
		split += n;
		to_write -= n;
		if (split == BCBUS_MAPPING) {
			if (is_not_empty(split_buf)) {
				put_setpoint_block(adr_block / BCBUS_MAPPING, split_buf);
			}
			adr_block += BCBUS_MAPPING;
			split = 0;
		}
	}
	return len;
}

static void get_upstream_block(uint8_t adr, uint8_t *dest)
{
	struct poll_data *dp;
	struct busunit *p = unit_tab[adr];
	if (p != NULL && p->data != NULL) {
		dp = p->data;
		psmemcpy(dest, &dp->data[2], BCBUS_MAPPING);
	} else {
		memset(dest, 0, BCBUS_MAPPING);
	}
}

size_t read_upstream_chunk(uint16_t offset, uint8_t *buf, size_t bufsize)
{
	int rest;
	uint8_t *cursor = buf;
	uint16_t adr = offset;
	size_t len, nbytes;
	uint8_t blk[BCBUS_MAPPING];

	for (nbytes = 0; nbytes < bufsize; nbytes += len) {
		rest = adr % BCBUS_MAPPING;
		len = MIN(bufsize - nbytes, BCBUS_MAPPING - rest);
		get_upstream_block(adr / BCBUS_MAPPING, blk);
		memcpy(cursor, blk + rest, len);
		cursor += len;
		adr += len;
	}
	return nbytes;
}

static int get_thd_state_idx(enum poll_state state)
{
	int n = 0;
	while (polling_ths[n].dev != NULL) {
		if (polling_ths[n].state == state) {
			return n;
		}
		n++;
	}
	return -1;
}

static int get_thd_iface_idx(int iface)
{
	int n = 0;
	while (polling_ths[n].dev != NULL) {
		if (polling_ths[n].iface == iface) {
			return n;
		}
		n++;
	}
	return -1;
}

void start_polling(int iface)
{
	int n;

	n = get_thd_iface_idx(iface);

	if (n < 0) {
		n = get_thd_state_idx(WAIT_START);
	}

	if (n >= 0) {
		if (polling_ths[n].state != RUNNING) {
			polling_ths[n].state = START_POLL;
		}
		polling_ths[n].iface = iface;
	}
}

void stop_polling(int iface)
{
	int n;

	n = get_thd_iface_idx(iface);

	if (n >= 0) {
		polling_ths[n].state = STOP_POLL;
	}
}

enum poll_state status_polling(int iface)
{
	int n;

	n = get_thd_iface_idx(iface);

	if (n >= 0) {
		return polling_ths[n].state;
	}
	return NOT_VALID;
}

const char *poll_state_txt(enum poll_state state)
{
	return status_str[state];
}

char *get_poll_stats(char *buf, size_t buf_size, int iface, uint8_t ba)
{
	unsigned int p_stat;
	int n;
	struct busunit *item;

	strncpy(buf, "invalid", buf_size);

	n = get_thd_iface_idx(iface);
	if (n >= 0 && polling_ths[n].bus != NULL) {
		item = bcbus_find_item_ba(polling_ths[n].bus, ba);
		if (item != NULL) {
			p_stat = ((uint64_t)item->poll_cnt - item->err_cnt) * 1000 / item->poll_cnt;
			snprintf(buf, buf_size, "%3u.%01u ok from %u", p_stat / 10, p_stat % 10,
				 item->poll_cnt);
		}
	}
	return buf;
}

static void do_polling(struct polling_th *p)
{
	int rc;
	struct busunit *pbu;
	uint8_t *r_unit;
	struct poll_data *dp;

	struct bcbus_tele bustele_snr = {
		.txbuf = {0, 1, SEND_SER_NUM},
	};

	p->bus = bcbus_get_copy_poll_list(p->iface);
	if (p->bus == NULL) {
		LOG_WRN("no buslist");
		return;
	}

	for (pbu = bcbus_item_head(p->bus); pbu != NULL; pbu = bcbus_item_next(pbu)) {
		unit_tab[pbu->ba] = pbu;
		pbu->data = PSRAM_START_ADR + pbu->ba * sizeof(struct poll_data);
		psmemset(pbu->data, 0, sizeof(struct poll_data));
	}

	while (p->state == RUNNING) {
		for (pbu = bcbus_item_head(p->bus); pbu != NULL; pbu = bcbus_item_next(pbu)) {
			dp = fetch_poll_data(pbu->ba);
			pbu->data = dp;
			if (dp == NULL) {
				break;
			}
			r_unit = dp->data[2];
			if (r_unit[2] == 0) {
				rc = bcbus_do_client_handshake(p->iface, pbu->ba, &bustele_snr);
				if (rc == 0) {
					memcpy(&r_unit[2], &bustele_snr.rxbuf[2],
					       bustele_snr.rxbuf[1]);
				}
			}
			rc = poll_busunit(p->iface, pbu);
			if (rc == 0 && r_unit[1] > 0) {
				r_unit[1] /= 2;
			}
			pbu->data = PSRAM_POLL_DATA_ADR(pbu->ba);
			release_poll_data(pbu->ba, dp);
		}
		k_sleep(K_MSEC(250));
	}

	for (pbu = bcbus_item_head(p->bus); pbu != NULL; pbu = bcbus_item_next(pbu)) {
		unit_tab[pbu->ba] = NULL;
	}

	delete_bcbus_obj(p->bus);
	p->bus = NULL;
}

static void polling_handler(void *p1, void *p2, void *p3)
{
	int n;
	struct polling_th *act;

	while (1) {
		n = get_thd_state_idx(START_POLL);

		if (n < 0) {
			k_sleep(K_MSEC(1000));
		} else {
			act = &polling_ths[n];
			act->state = RUNNING;
			do_polling(act);
			act->state = WAIT_START;
		}
	}
}

void polling_init(void)
{
	poll_buf_init();
}

#define STACKSIZE 1024

K_THREAD_DEFINE(bcbus_poll0, STACKSIZE, polling_handler, NULL, NULL, NULL, 14, 0, 10);
K_THREAD_DEFINE(bcbus_poll1, STACKSIZE, polling_handler, NULL, NULL, NULL, 14, 0, 10);
K_THREAD_DEFINE(bcbus_poll2, STACKSIZE, polling_handler, NULL, NULL, NULL, 14, 0, 10);
K_THREAD_DEFINE(bcbus_poll3, STACKSIZE, polling_handler, NULL, NULL, NULL, 14, 0, 10);
```

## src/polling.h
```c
#ifndef polling__h
#define polling__h

#ifdef __cplusplus
extern "C" {
#endif

#include <stdio.h>
#include <stddef.h>
#include <zephyr/bcbus/bcbus_unit.h>

enum poll_state {
	WAIT_START = 0,
	START_POLL,
	RUNNING,
	STOP_POLL,
	NOT_VALID
};

#define PSRAM_START_ADR         (uint8_t *)0x04000000
#define PSRAM_POLL_DATA_ADR(n)  (PSRAM_START_ADR + (n) * sizeof(struct poll_data))
#define PSRAM_POLL_DATA2_ADR(n) (PSRAM_POLL_DATA_ADR(n) + 2 * BCBUS_MAPPING)

void start_polling(int iface);
void stop_polling(int iface);
enum poll_state status_polling(int iface);
const char *poll_state_txt(enum poll_state state);
size_t write_setpoint_chunk(uint16_t offset, uint8_t *data, size_t len);
size_t read_upstream_chunk(uint16_t offset, uint8_t *buf, size_t bufsize);

struct busunit *get_polled_busunit(uint8_t ba);
struct poll_data *claim_poll_data_buf(const struct poll_data *src);
void release_poll_data_buf(struct poll_data *dest, const struct poll_data *src);

char *get_poll_stats(char *buf, size_t buf_size, int iface, uint8_t ba);

void polling_init(void);

#ifdef __cplusplus
}
#endif

#endif
```

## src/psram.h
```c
#ifndef psram__h
#define psram__h

#ifdef __cplusplus
extern "C" {
#endif
#include <stdio.h>

void *psmemcpy(void *dest, const void *src, size_t size);
void *psmemset(void *s, int c, size_t size);
#ifdef __cplusplus
}
#endif

#endif
```
